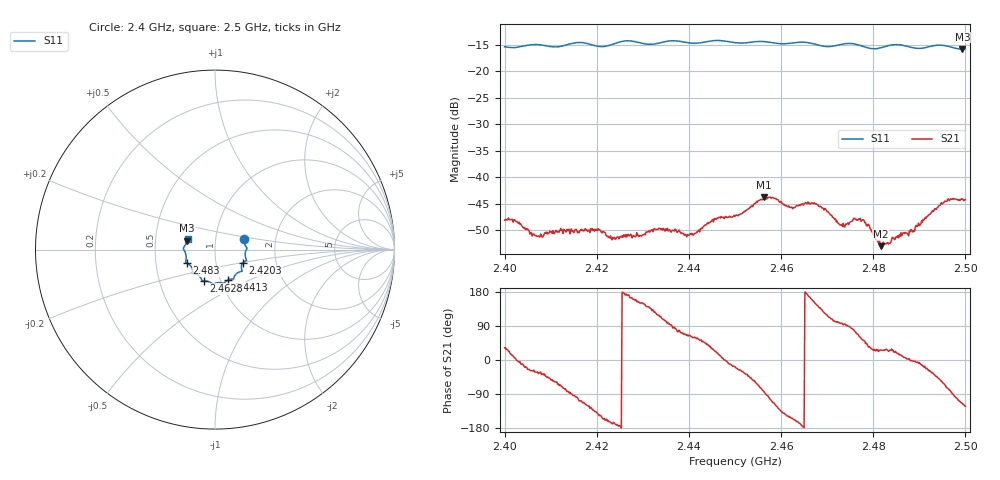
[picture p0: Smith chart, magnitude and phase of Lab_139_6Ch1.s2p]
# Hz S RI R 50
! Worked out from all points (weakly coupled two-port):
!   601 points, 2.4 GHz to 2.5 GHz, reference 50 ohm
!   highest |S21| = -43.73 dB at 2.4563 GHz (marker M1); lowest = -53.0 dB at 2.4817 GHz (marker M2)
!   lowest |S11| = -15.8 dB at 2.4993 GHz (marker M3), VSWR 1.39, Z = 36.5 + j3.7 ohm
!   |S11| at or under -10 dB: start of sweep to end of sweep
!   S12 and S22 are empty: the file has one direction only
!   S11 on the Smith chart (normalised r, x): 2.4 GHz: 1.37, +0.16; 2.4203 GHz: 1.35, -0.21; 2.4413 GHz: 1.09, -0.38; 2.4628 GHz: 0.83, -0.30; 2.483 GHz: 0.72, -0.11; 2.5 GHz: 0.73, +0.09
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2.4e9  0.1605 0.0571  0.00332 0.00209  0 0  0 0
2.402667e9  0.1656 0.0287  0.00381 -7.13e-05  0 0  0 0
2.407167e9  0.1786 0.00729  0.00237 -0.00146  0 0  0 0
2.416667e9  0.176 -0.0617  -0.000994 -0.00307  0 0  0 0
2.420333e9  0.1551 -0.0738  -0.0026 -0.00196  0 0  0 0
2.423667e9  0.1473 -0.1054  -0.00254 -0.000703  0 0  0 0
2.433333e9  0.1081 -0.1484  -0.00153 0.00287  0 0  0 0
2.441333e9  0.0744 -0.1679  0.00153 0.00252  0 0  0 0
2.446e9  0.0498 -0.1885  0.00379 0.00134  0 0  0 0
2.45e9  0.0292 -0.1837  0.0041 -0.00129  0 0  0 0
2.456333e9  -0.0133 -0.1901  0.000653 -0.00647  0 0  0 0
2.462833e9  -0.063 -0.1748  -0.00476 -0.002  0 0  0 0
2.466667e9  -0.0743 -0.1675  -0.00537 0.00201  0 0  0 0
2.473333e9  -0.1201 -0.1345  -0.000276 0.00343  0 0  0 0
2.4775e9  -0.1242 -0.1207  0.00222 0.00321  0 0  0 0
2.481667e9  -0.1442 -0.0829  0.00201 0.000981  0 0  0 0
2.483e9  -0.1551 -0.0766  0.00214 0.00108  0 0  0 0
2.483333e9  -0.1571 -0.0756  0.00216 0.000903  0 0  0 0
2.4885e9  -0.1604 -0.0467  0.00304 -0.000128  0 0  0 0
2.495167e9  -0.1752 0.0113  0.00272 -0.005  0 0  0 0
2.499333e9  -0.1543 0.0495  -0.00253 -0.00563  0 0  0 0
2.5e9  -0.1527 0.0586  -0.00328 -0.00519  0 0  0 0
